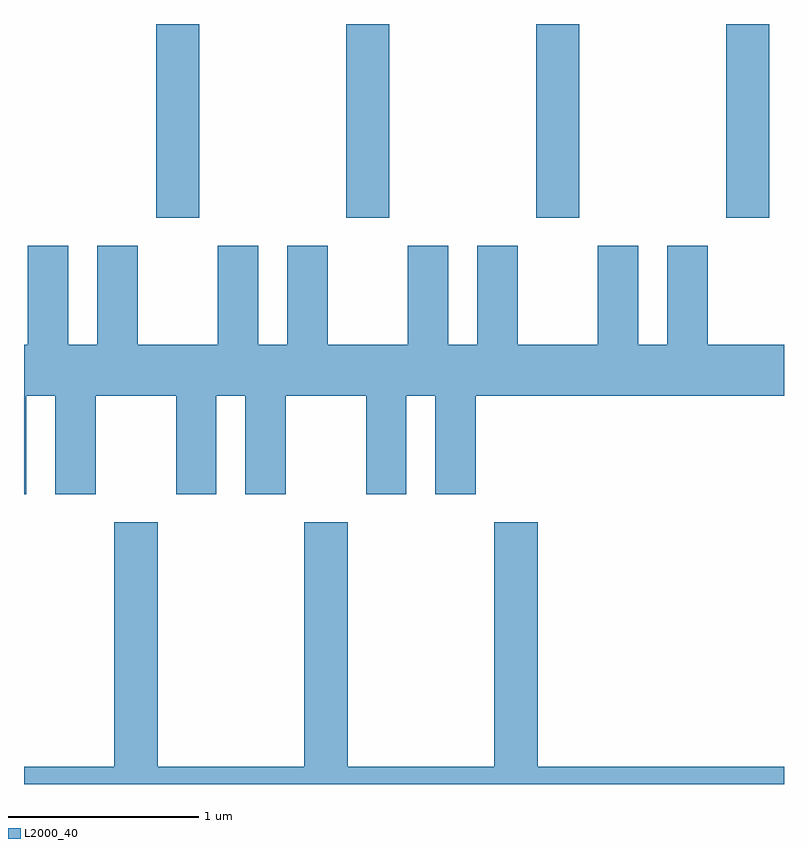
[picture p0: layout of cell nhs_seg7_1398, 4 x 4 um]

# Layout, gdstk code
import gdstk
lib = gdstk.Library(unit=1e-6, precision=1e-09)
def R(c, l, rs):  # rectangles x0, y0, x1, y1
    for r in rs: c.add(gdstk.rectangle(r[:2], r[2:], *l))
def A(c, l, x, y, w, h, nx, ny, dx, dy):  # array of equal rectangles
    R(c, l, [(x+i*dx, y+j*dy, x+i*dx+w, y+j*dy+h) for i in range(nx) for j in range(ny)])
def P(c, l, *ps):  # polygons
    for p in ps: c.add(gdstk.Polygon(p, *l))
L2000_40 = (2000, 40)

nhs_seg7_1398 = lib.new_cell('nhs_seg7_1398')
A(nhs_seg7_1398, L2000_40, 228.306, 1735.231, 0.228, 1.021, 4, 1, 1, 0)
P(nhs_seg7_1398, L2000_40, [(227.624,1734.296),(227.776,1734.296),(227.776,1733.776),(227.989,1733.776),(227.989,1734.296),(228.411,1734.296),(228.411,1733.776),(228.624,1733.776),(228.624,1734.296),(228.776,1734.296),(228.776,1733.776),(228.989,1733.776),(228.989,1734.296),(229.411,1734.296),(229.411,1733.776),(229.624,1733.776),(229.624,1734.296),(229.776,1734.296),(229.776,1733.776),(229.989,1733.776),(229.989,1734.296),(231.611,1734.296),(231.611,1734.564),(231.209,1734.564),(231.209,1735.084),(230.996,1735.084),(230.996,1734.564),(230.844,1734.564),(230.844,1735.084),(230.631,1735.084),(230.631,1734.564),(230.209,1734.564),(230.209,1735.084),(229.996,1735.084),(229.996,1734.564),(229.844,1734.564),(229.844,1735.084),(229.631,1735.084),(229.631,1734.564),(229.209,1734.564),(229.209,1735.084),(228.996,1735.084),(228.996,1734.564),(228.844,1734.564),(228.844,1735.084),(228.631,1735.084),(228.631,1734.564),(228.209,1734.564),(228.209,1735.084),(227.996,1735.084),(227.996,1734.564),(227.844,1734.564),(227.844,1735.084),(227.631,1735.084),(227.631,1734.564),(227.611,1734.564),(227.611,1733.776),(227.624,1733.776)],
  [(231.611,1732.344),(230.314,1732.344),(230.314,1733.629),(230.086,1733.629),(230.086,1732.344),(229.314,1732.344),(229.314,1733.629),(229.086,1733.629),(229.086,1732.344),(228.314,1732.344),(228.314,1733.629),(228.086,1733.629),(228.086,1732.344),(227.611,1732.344),(227.611,1732.252),(231.611,1732.252)])

lib.write_gds('nhs_seg7_1398.gds')
